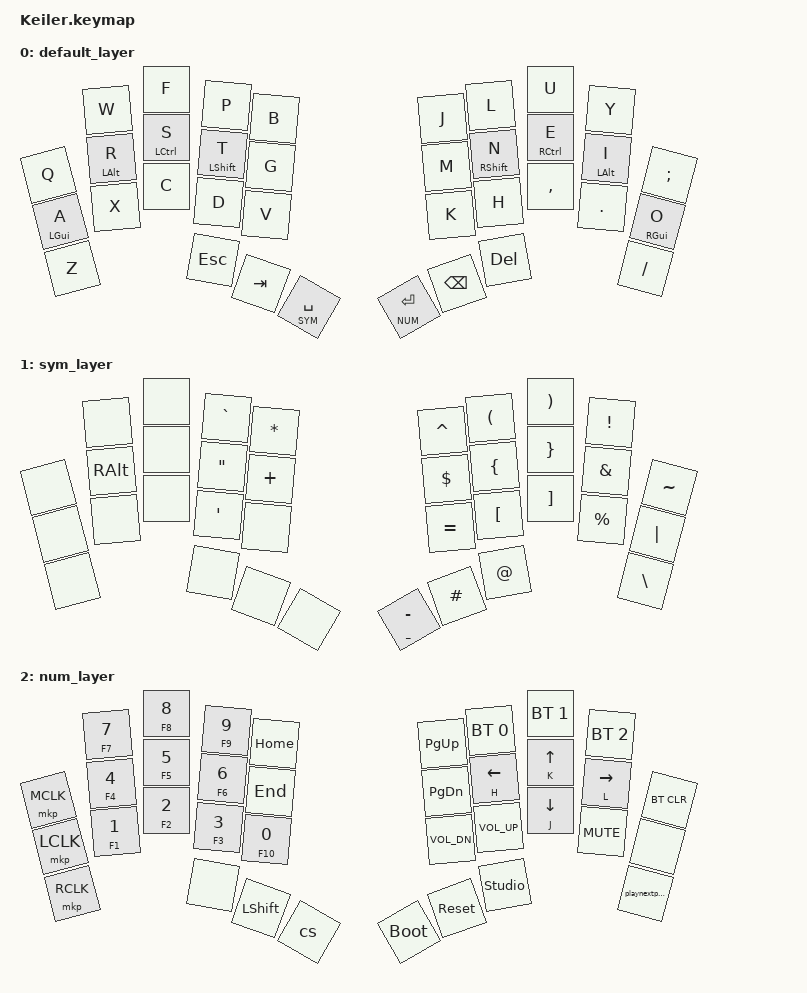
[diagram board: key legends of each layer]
// Copyright (c) 2022 The ZMK Contributors
// SPDX-License-Identifier: MIT

#include <behaviors.dtsi>
#include <dt-bindings/zmk/keys.h>
#include <dt-bindings/zmk/bt.h>
#include <dt-bindings/zmk/outputs.h>
#include <dt-bindings/zmk/pointing.h>

#define SYM 1
#define NUM 2




&caps_word {
    continue-list = <ESC>;
};



/ {
    
// ╭──────────────╮ ╭──────────────╮
// │ 0  1  2  3  4│ │ 5  6  7  8  9│
// │10 11 12 13 14│ │15 16 17 18 19│
// │20 21 22 23 24│ │25 26 27 28 29│
// ╰─────╮30 31 32│ │33 34 35╭─────╯
//       ╰────────╯ ╰────────╯

    combos {
        compatible = "zmk,combos";

        combo_caps {
            layers = <0>;
            timeout-ms = <75>;
            require-prior-idle-ms = <100>;
            key-positions = <14 15>;
            bindings = <&caps_word>;
        };

        combo_lclk {
            layers = <0>;
            timeout-ms = <40>;
            require-prior-idle-ms = <150>;
            key-positions = <12 13>;
            bindings = <&mkp LCLK>;
        };

        combo_rclk {
            layers = <0>;
            timeout-ms = <40>;
            require-prior-idle-ms = <150>;
            key-positions = <11 12>;
            bindings = <&mkp RCLK>;
        };

        combo_mclk {
            layers = <0>;
            timeout-ms = <40>;
            require-prior-idle-ms = <150>;
            key-positions = <10 11>;
            bindings = <&mkp MCLK>;
        };
    };

    behaviors {
        ht: hold_tap {
            compatible = "zmk,behavior-hold-tap";
            #binding-cells = <2>;
            flavor = "tap-preferred";
            tapping-term-ms = <180>;
            quick-tap-ms = <175>;
            require-prior-idle-ms = <150>;
            bindings = <&kp>, <&kp>;
        };

        lp: layer_press {
            compatible = "zmk,behavior-hold-tap";
            #binding-cells = <2>;
            flavor = "hold-preferred";
            tapping-term-ms = <200>;
            require-prior-idle-ms = <90>;
            // retro-tap;
            bindings = <&mo>, <&kp>;
        };

        mp: mod_press {
            compatible = "zmk,behavior-hold-tap";
            #binding-cells = <2>;
            flavor = "tap-preferred";
            tapping-term-ms = <200>;
            require-prior-idle-ms = <125>;
            bindings = <&kp>, <&kp>;
        };

        cs: ctrl_shift {
            compatible = "zmk,behavior-tap-dance";
            #binding-cells = <0>;
            tapping-term-ms = <200>;
            bindings = <&kp LCTRL>, <&kp LC(LSHFT)>;
        };

        playnextprev: play_next_previous_media {
            compatible = "zmk,behavior-tap-dance";
            #binding-cells = <0>;
            tapping-term-ms = <300>;
            bindings = <&kp C_PLAY_PAUSE>, <&kp C_NEXT>, <&kp C_PREVIOUS>;
        };
    };

    keymap {
        compatible = "zmk,keymap";
        default_layer {
            bindings = <
        //╭──────────┬──────────┬──────────┬──────────┬──────────╮          ╭──────────┬──────────┬──────────┬──────────┬──────────╮
        //│  Q       │  W       │  F       │  P       │  B       │          │  J       │  L       │  U       │  Y       │  ;       │
            &kp Q      &kp W      &kp F      &kp P      &kp B                 &kp J      &kp L      &kp U      &kp Y      &kp SEMI
        //├──────────┼──────────┼──────────┼──────────┼──────────┤          ├──────────┼──────────┼──────────┼──────────┼──────────┤
        //│  A       │  R       │  S       │  T       │  G       │          │  M       │  N       │  E       │  I       │   O      │
           &ht LGUI A &ht LALT R &ht LCTRL S &ht LSHFT T &kp G                &kp M    &ht RSHFT N &ht RCTRL E &ht LALT I &ht RGUI O
        //├──────────┼──────────┼──────────┼──────────┼──────────┤          ├──────────┼──────────┼──────────┼──────────┼──────────┤
        //│  Z       │  X       │  C       │  D       │  V       │          │  K       │  H       │ , <      │ . >      │ / ?      │
            &kp Z      &kp X      &kp C      &kp D      &kp V                 &kp K      &kp H      &kp COMMA  &kp DOT    &kp FSLH
        //╰──────────┴──────────┴──────────┼──────────┼──────────┤          ├──────────┼──────────┼──────────┴──────────┴──────────╯
                                  &kp ESC    &kp TAB    &lp SYM SPACE    &lp NUM RET     &kp BSPC   &kp DEL
        //                      ╰──────────┴──────────┴──────────╯          ╰──────────┴──────────┴──────────╯
        >;
        };

        sym_layer {
            bindings = <
        //╭──────────┬──────────┬──────────┬──────────┬──────────╮          ╭──────────┬──────────┬──────────┬──────────┬──────────╮
        //│          │          │          │    `     │          │          │    ^     │    (     │    )     │    !     │    ~     │
            &none      &none      &none      &kp GRAVE  &kp STAR              &kp CARET  &kp LPAR   &kp RPAR   &kp EXCL   &kp TILDE
        //├──────────┼──────────┼──────────┼──────────┼──────────┤          ├──────────┼──────────┼──────────┼──────────┼──────────┤
        //│          │          │          │    "     │          │          │    $     │    {     │    }     │    &     │    |     │
            &none      &kp RALT   &none      &kp DQT    &kp PLUS              &kp DLLR   &kp LBRC   &kp RBRC   &kp AMPS   &kp PIPE
        //├──────────┼──────────┼──────────┼──────────┼──────────┤          ├──────────┼──────────┼──────────┼──────────┼──────────┤
        //│          │          │          │    '     │          │          │    =     │    [     │    ]     │    %     │    \     │
            &none      &none      &none      &kp SQT    &none                 &kp EQUAL  &kp LBKT   &kp RBKT   &kp PRCNT  &kp BSLH
        //╰──────────┴──────────┴──────────┼──────────┼──────────┤          ├──────────┼──────────┼──────────┴──────────┴──────────╯
        //                      │          │          │          │          │    -_    │    #     │    @     │ 
                                  &none      &none      &none            &mp UNDER MINUS &kp HASH   &kp AT
        //                      ╰──────────┴──────────┴──────────╯          ╰──────────┴──────────┴──────────╯
            >;
        };

        num_layer {
            bindings = <
        //╭──────────┬──────────┬──────────┬──────────┬──────────╮          ╭──────────┬──────────┬──────────┬──────────┬──────────╮
        //│  MCLK    │    7     │    8     │    9     │          │          │  PG_UP   │ BT_SEL 0 │ BT_SEL 1 │ BT_SEL 2 │  BT_CLR  │
          &mkp MCLK    &mp F7 N7  &mp F8 N8  &mp F9 N9  &kp HOME              &kp PG_UP  &bt BT_SEL 0 &bt BT_SEL 1 &bt BT_SEL 2 &bt BT_CLR
        //├──────────┼──────────┼──────────┼──────────┼──────────┤          ├──────────┼──────────┼──────────┼──────────┼──────────┤
        //│  LCLK    │    4     │    5     │    6     │          │          │  PG_DN   │  LEFT    │   UP     │  RIGHT   │          │
          &mkp LCLK    &mp F4 N4  &mp F5 N5  &mp F6 N6  &kp END               &kp PG_DN  &ht H LEFT &ht K UP   &ht L RIGHT &none
        //├──────────┼──────────┼──────────┼──────────┼──────────┤          ├──────────┼──────────┼──────────┼──────────┼──────────┤
        //│  RCLK    │    1     │    2     │    3     │    0     │          │  VOL_DN  │  VOL_UP  │  DOWN    │  MUTE    │ PLAY/PAU │
          &mkp RCLK    &mp F1 N1  &mp F2 N2  &mp F3 N3  &mp F10 N0            &kp C_VOL_DN &kp C_VOL_UP &ht J DOWN &kp C_MUTE &playnextprev
        //╰──────────┴──────────┴──────────┼──────────┼──────────┤          ├──────────┼──────────┼──────────┴──────────┴──────────╯
                                  &none      &kp LSHFT  &cs                   &bootloader &sys_reset &studio_unlock
        //                      ╰──────────┴──────────┴──────────╯          ╰──────────┴──────────┴──────────╯
            >;
        };

    };
};
